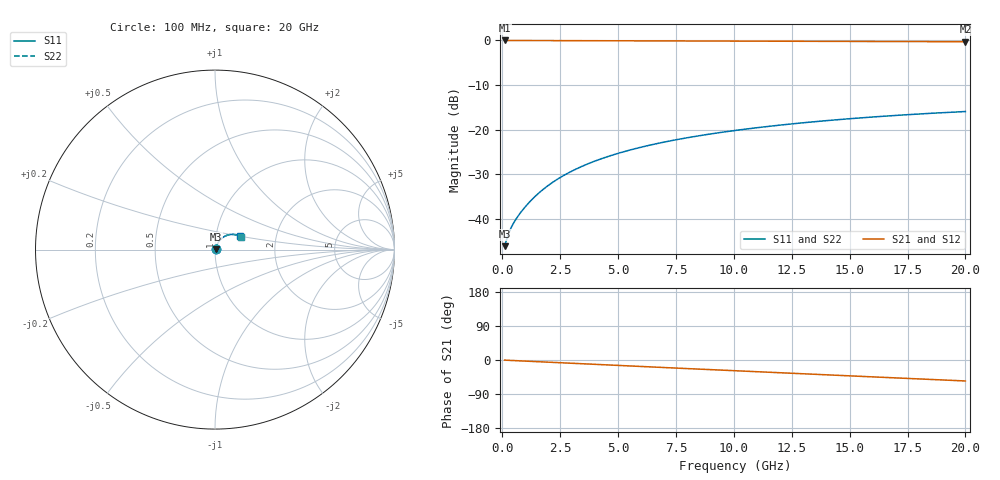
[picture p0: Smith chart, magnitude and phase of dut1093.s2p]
! Touchstone file exported from HFSS 2026.1.0
!  File:  C:/ffzhzh/LocalFiles/Ansys_Project_Files/temp_train_BSMRDL_1093_1783174651_55132.aedt
!  Generated:  10:18:48 PM Jul  4, 2026
!  Design:  BSMRDL
!  Project:  temp_train_BSMRDL_1093_1783174651_55132
! Variables:
!  h_bsmrdl = 3.9um
!  h_ox = 20um
!  h_rdl = 5um
!  h_sub = 80um
!  h_tmrdl = 5um
!  h_tsv = 80um
!  h_via = 3um
!  l_bsmrdl = 982.8um
!  l_sub = 1382.8um
!  l_tmrdl = 200um
!  m_sub = 200um
!  pitch = 27.48um
!  r_tsv = 6um
!  s_tmrdl = 10um
!  w_bsmrdl = 20.2um
!  w_sub = 500um
!  w_tmrdl = 12um
!  x_tsv_center1 = 206um
!  x_tsv_center2 = 1209um
!  x_tsv_center3 = 1421um
!  x_tsv_center4 = 2424um
!  x_tsv_center5 = 2636um
!  x_tsv_center6 = 3639um
# GHz S MA R 50.000000
! Terminal data exported
! Port[1] = BSM_RDL1_1_T1
! Port[2] = BSM_RDL1_1_T2
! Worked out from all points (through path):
!   200 points, 100 MHz to 20 GHz, reference 50 ohm
!   highest |S21| = -0.04 dB at 100 MHz (marker M1); lowest = -0.3 dB at 20 GHz (marker M2)
!   group delay of S21, straight-line fit = 7.66 ps
!   lowest |S11| = -46.1 dB at 100 MHz (marker M3), VSWR 1.01, Z = 50.5 + j0.177 ohm
!   |S11| at or under -10 dB: start of sweep to end of sweep
!   |S22| runs from -46.1 to -15.9 dB; largest |S21 - S12| = 5.4e-15
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0.1  0.004978 20.6  0.9953 -0.3  0.9953 -0.3  0.004978 20.6
! Gamma 0 0 0 0
! Port Impedance 50 0 50 0
0.2  0.006057 32.5  0.9949 -0.6  0.9949 -0.6  0.006057 32.5
0.3  0.007173 38.8  0.9945 -0.9  0.9945 -0.9  0.007173 38.8
0.4  0.008194 42.9  0.9941 -1.2  0.9941 -1.2  0.008195 42.9
0.5  0.009146 46.2  0.9938 -1.5  0.9938 -1.5  0.009146 46.2
0.7  0.01098 51.6  0.9935 -2.1  0.9935 -2.1  0.01098 51.5
0.9  0.01285 55.7  0.9932 -2.7  0.9932 -2.7  0.01285 55.7
1.3  0.01676 61.2  0.9928 -3.8  0.9928 -3.8  0.01676 61.1
1.8  0.02187 64.7  0.9923 -5.2  0.9923 -5.2  0.02187 64.7
2.3  0.02708 66.3  0.9917 -6.7  0.9917 -6.7  0.02708 66.2
2.9  0.03333 66.7  0.9909 -8.4  0.9909 -8.4  0.03333 66.7
3.5  0.03949 66.4  0.99 -10.1  0.99 -10.1  0.03951 66.3
4.2  0.04654 65.4  0.9888 -12.1  0.9888 -12.1  0.04656 65.3
5  0.05435 63.9  0.9874 -14.3  0.9874 -14.3  0.05438 63.8
5.9  0.06283 61.9  0.9857 -16.9  0.9857 -16.9  0.06286 61.8
6.8  0.07098 59.8  0.984 -19.4  0.984 -19.4  0.07102 59.7
8.3  0.08389 56.2  0.9813 -23.5  0.9813 -23.5  0.08395 56.1
10.1  0.09837 51.9  0.9781 -28.5  0.9781 -28.5  0.09845 51.7
11.7  0.1104 48.0  0.9755 -32.9  0.9755 -32.9  0.1105 47.7
13.4  0.1223 43.8  0.9728 -37.5  0.9728 -37.5  0.1224 43.5
16.7  0.1427 35.7  0.9681 -46.4  0.9681 -46.4  0.1429 35.3
20  0.1596 27.5  0.9639 -55.3  0.9639 -55.3  0.1598 27.0
